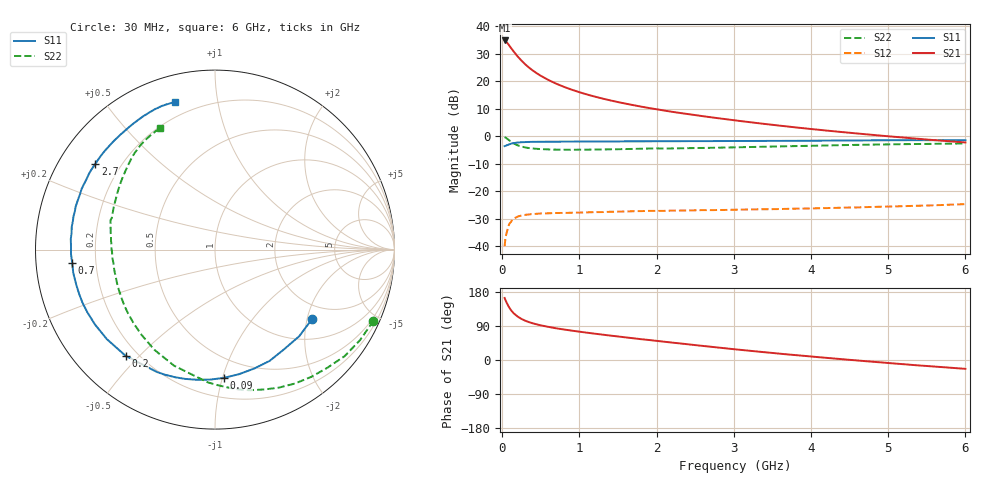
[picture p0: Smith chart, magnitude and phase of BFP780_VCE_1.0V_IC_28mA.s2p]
! Infineon Technologies  Discrete & RF Semiconductors
! BFP780
! VCE =  1.0 V,  IC =  28 mA
! Common Emitter S-Parameters:  Jul 2015
# GHz  S  MA  R  50
!  f  S11  S21  S12  S22
! GHz  MAG  ANG  MAG  ANG  MAG  ANG  MAG  ANG
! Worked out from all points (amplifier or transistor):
!   75 points, 30 MHz to 6 GHz, reference 50 ohm
!   highest |S21| = 34.9 dB at 30 MHz (marker M1)
!   |S21| within 3 dB of that: start of sweep to 120.2 MHz
!   unconditionally stable (mu >= 1): 2.235 GHz to end of sweep
!   at 150 MHz: K = 0.09, MSG = 30.3 dB, |S12| = -29.9 dB
!   at 2.3 GHz: K = 1.02, MAG = 16.8 dB, |S12| = -27.0 dB
!   at 6 GHz: K = 1.67, MAG = 6.4 dB, |S12| = -24.6 dB
!   S11 on the Smith chart (normalised r, x): 30 MHz: 1.54, -2.14; 90 MHz: 0.34, -1.01; 200 MHz: 0.15, -0.46; 700 MHz: 0.11, -0.04; 2.7 GHz: 0.11, +0.32; 6 GHz: 0.13, +0.76
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0.03  0.6645 -35.8  55.35 163.6  0.0101 78.3  0.9679 -24.2
0.05  0.6758 -55.3  52.49 153.9  0.0163 67.4  0.9349 -39.4
0.06  0.6908 -63.9  50.73 149.8  0.0185 58.7  0.9086 -46.4
0.08  0.7071 -79.2  46.86 142.0  0.0234 53.3  0.8689 -59.2
0.09  0.7163 -86.1  44.78 138.5  0.0255 52.7  0.8473 -65.2
0.11  0.7321 -97.8  40.96 132.4  0.0277 45.6  0.8077 -76.0
0.14  0.7505 -111.6  35.99 125.0  0.0307 39.4  0.7537 -89.4
0.15  0.7548 -115.4  34.54 122.9  0.0321 36.6  0.7406 -93.1
0.2  0.7736 -130.1  28.24 114.4  0.0349 30.4  0.6859 -109.4
0.25  0.7823 -140.4  23.69 108.2  0.0365 25.2  0.6522 -121.3
0.3  0.7882 -148.0  20.22 103.4  0.0375 21.6  0.6271 -130.7
0.35  0.7924 -153.9  17.6 99.6  0.0382 19.5  0.6116 -137.9
0.5  0.7972 -165.4  12.59 91.4  0.0397 15.1  0.5864 -152.6
0.7  0.7992 -174.8  9.05 83.6  0.0405 12.0  0.5736 -164.5
1.1  0.8044 173.3  5.753 72.0  0.0416 9.9  0.5735 -178.3
1.5  0.8093 164.8  4.196 62.1  0.0428 8.4  0.5839 173.0
2.1  0.8162 154.0  2.943 48.2  0.0443 7.0  0.6016 163.0
2.7  0.82 144.3  2.227 35.0  0.0456 5.9  0.6191 153.5
3.1  0.8243 138.1  1.888 26.5  0.0466 5.4  0.6357 147.5
4.1  0.8349 124.1  1.318 7.4  0.0494 4.5  0.6787 134.9
5.1  0.851 113.1  0.977 -9.6  0.0534 3.2  0.7182 124.2
6  0.8523 105.1  0.775 -23.3  0.0587 0.8  0.7428 114.6
